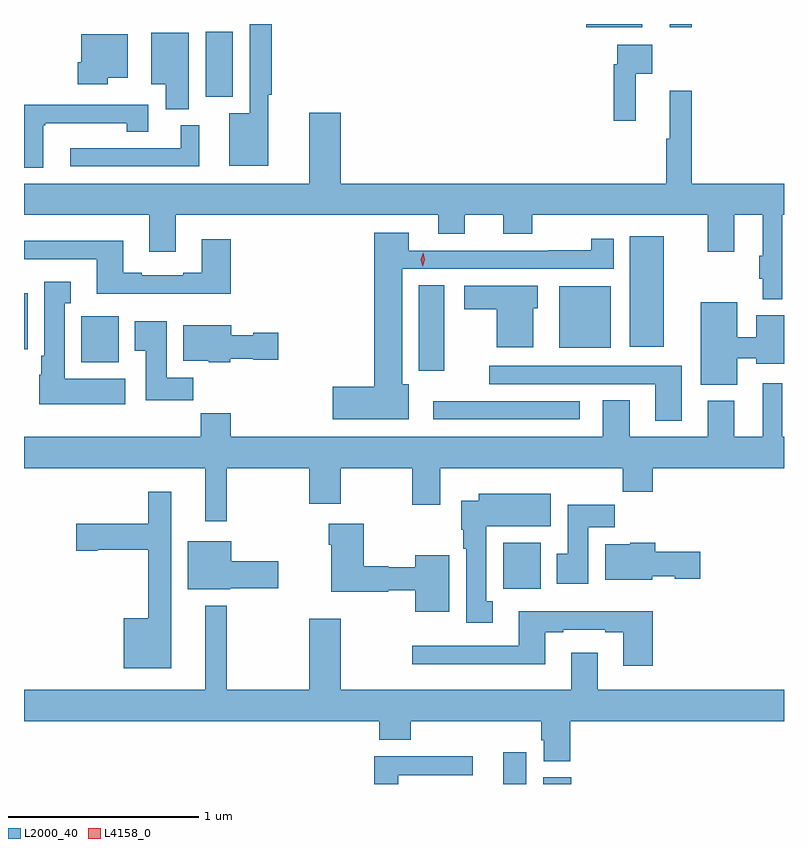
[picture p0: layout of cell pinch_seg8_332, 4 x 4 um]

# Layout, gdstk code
import gdstk
lib = gdstk.Library(unit=1e-6, precision=1e-09)
def R(c, l, rs):  # rectangles x0, y0, x1, y1
    for r in rs: c.add(gdstk.rectangle(r[:2], r[2:], *l))
def P(c, l, *ps):  # polygons
    for p in ps: c.add(gdstk.Polygon(p, *l))
L2000_40 = (2000, 40)
L4158_0 = (4158, 0)

pinch_seg8_332 = lib.new_cell('pinch_seg8_332')
R(pinch_seg8_332, L2000_40, [(453.74,1148.137,453.862,1148.305), (453.95,1148.137,454.097,1148.172), (453.74,1149.164,453.937,1149.406), (453.372,1150.056,454.144,1150.152), (453.296,1150.311,453.43,1150.763), (451.52,1150.358,451.717,1150.6), (451.218,1150.424,451.237,1150.72), (454.034,1150.433,454.306,1150.756), (454.406,1150.439,454.585,1151.02), (452.174,1151.753,452.317,1152.095), (454.178,1152.119,454.471,1152.137), (454.617,1152.12,454.733,1152.137)])
P(pinch_seg8_332, L2000_40, [(452.504,1151.764),(452.522,1151.764),(452.522,1152.137),(452.406,1152.137),(452.406,1151.668),(452.297,1151.668),(452.297,1151.39),(452.504,1151.39)],
  [(452.086,1152.091),(451.889,1152.091),(451.889,1151.819),(451.964,1151.819),(451.964,1151.689),(452.086,1151.689)],
  [(451.66,1151.855),(451.765,1151.855),(451.765,1152.082),(451.52,1152.082),(451.52,1151.937),(451.502,1151.937),(451.502,1151.819),(451.66,1151.819)],
  [(454.439,1151.876),(454.525,1151.876),(454.525,1152.028),(454.341,1152.028),(454.341,1151.924),(454.321,1151.924),(454.321,1151.628),(454.439,1151.628)],
  [(455.209,1151.132),(455.218,1151.132),(455.218,1151.296),(454.733,1151.296),(454.733,1151.785),(454.616,1151.785),(454.616,1151.532),(454.597,1151.532),(454.597,1151.296),(452.884,1151.296),(452.884,1151.671),(452.72,1151.671),(452.72,1151.296),(451.218,1151.296),(451.218,1151.132),(451.877,1151.132),(451.877,1150.938),(452.017,1150.938),(452.017,1151.132),(453.398,1151.132),(453.398,1151.033),(453.538,1151.033),(453.538,1151.132),(453.74,1151.132),(453.74,1151.033),(453.893,1151.033),(453.893,1151.132),(454.817,1151.132),(454.817,1150.938),(454.957,1150.938),(454.957,1151.132),(455.105,1151.132),(455.105,1150.916),(455.088,1150.916),(455.088,1150.795),(455.105,1150.795),(455.105,1150.688),(455.209,1150.688)],
  [(451.318,1151.604),(451.33,1151.604),(451.33,1151.615),(451.76,1151.615),(451.76,1151.569),(451.873,1151.569),(451.873,1151.712),(451.324,1151.712),(451.324,1151.713),(451.218,1151.713),(451.218,1151.604),(451.22,1151.604),(451.22,1151.381),(451.318,1151.381)],
  [(452.14,1151.604),(452.042,1151.604),(452.042,1151.484),(451.461,1151.484),(451.461,1151.388),(452.14,1151.388)],
  [(453.244,1150.24),(453.208,1150.24),(453.208,1150.848),(454.321,1150.848),(454.321,1151.008),(454.204,1151.008),(454.204,1150.946),(453.976,1150.946),(453.976,1150.944),(453.244,1150.944),(453.244,1151.038),(453.062,1151.038),(453.062,1150.229),(452.844,1150.229),(452.844,1150.058),(453.244,1150.058)],
  [(452.306,1151.005),(452.153,1151.005),(452.153,1150.828),(452.057,1150.828),(452.057,1150.815),(451.837,1150.815),(451.837,1150.828),(451.741,1150.828),(451.741,1150.996),(451.218,1150.996),(451.218,1150.899),(451.601,1150.899),(451.601,1150.718),(452.306,1150.718)],
  [(451.75,1150.27),(451.432,1150.27),(451.432,1150.667),(451.465,1150.667),(451.465,1150.78),(451.325,1150.78),(451.325,1150.39),(451.31,1150.39),(451.31,1150.29),(451.298,1150.29),(451.298,1150.136),(451.75,1150.136)],
  [(453.898,1150.641),(453.922,1150.641),(453.922,1150.759),(453.534,1150.759),(453.534,1150.637),(453.707,1150.637),(453.707,1150.436),(453.898,1150.436)],
  [(454.972,1150.378),(455.072,1150.378),(455.072,1150.349),(455.218,1150.349),(455.218,1150.603),(455.072,1150.603),(455.072,1150.489),(454.972,1150.489),(454.972,1150.672),(454.781,1150.672),(454.781,1150.238),(454.972,1150.238)],
  [(452.108,1150.276),(451.969,1150.276),(451.969,1150.573),(451.802,1150.573),(451.802,1150.417),(451.859,1150.417),(451.859,1150.158),(452.108,1150.158)],
  [(452.304,1150.376),(452.424,1150.376),(452.424,1150.369),(452.557,1150.369),(452.557,1150.511),(452.424,1150.511),(452.424,1150.498),(452.308,1150.498),(452.308,1150.552),(452.057,1150.552),(452.057,1150.364),(452.19,1150.364),(452.19,1150.358),(452.304,1150.358)],
  [(454.681,1150.338),(453.666,1150.338),(453.666,1150.242),(454.541,1150.242),(454.541,1150.05),(454.681,1150.05)],
  [(452.285,1149.8),(452.72,1149.8),(452.72,1149.612),(452.884,1149.612),(452.884,1149.8),(453.262,1149.8),(453.262,1149.606),(453.409,1149.606),(453.409,1149.8),(454.369,1149.8),(454.369,1149.676),(454.526,1149.676),(454.526,1149.8),(455.218,1149.8),(455.218,1149.964),(455.209,1149.964),(455.209,1150.246),(455.105,1150.246),(455.105,1149.964),(454.957,1149.964),(454.957,1150.153),(454.817,1150.153),(454.817,1149.964),(454.405,1149.964),(454.405,1150.157),(454.265,1150.157),(454.265,1149.964),(452.306,1149.964),(452.306,1150.088),(452.149,1150.088),(452.149,1149.964),(451.218,1149.964),(451.218,1149.8),(452.171,1149.8),(452.171,1149.519),(452.285,1149.519)],
  [(451.993,1149.676),(451.872,1149.676),(451.872,1149.507),(451.494,1149.507),(451.494,1149.365),(451.606,1149.365),(451.606,1149.37),(451.872,1149.37),(451.872,1149.01),(451.742,1149.01),(451.742,1148.747),(451.993,1148.747)],
  [(453.685,1149.098),(453.652,1149.098),(453.652,1149.494),(453.991,1149.494),(453.991,1149.664),(453.611,1149.664),(453.611,1149.628),(453.518,1149.628),(453.518,1149.474),(453.53,1149.474),(453.53,1149.374),(453.545,1149.374),(453.545,1148.985),(453.685,1148.985)],
  [(454.189,1149.488),(454.328,1149.488),(454.328,1149.606),(454.079,1149.606),(454.079,1149.348),(454.022,1149.348),(454.022,1149.192),(454.189,1149.192)],
  [(453.457,1149.34),(453.278,1149.34),(453.278,1149.277),(453.135,1149.277),(453.135,1149.284),(453.005,1149.284),(453.005,1149.508),(452.822,1149.508),(452.822,1149.395),(452.834,1149.395),(452.834,1149.148),(453.135,1149.148),(453.135,1149.156),(453.278,1149.156),(453.278,1149.044),(453.457,1149.044)],
  [(452.304,1149.167),(452.557,1149.167),(452.557,1149.309),(452.308,1149.309),(452.308,1149.415),(452.081,1149.415),(452.081,1149.161),(452.304,1149.161)],
  [(454.524,1149.23),(454.644,1149.23),(454.644,1149.218),(454.777,1149.218),(454.777,1149.36),(454.541,1149.36),(454.541,1149.406),(454.41,1149.406),(454.41,1149.4),(454.277,1149.4),(454.277,1149.212),(454.524,1149.212)],
  [(454.094,1148.468),(455.218,1148.468),(455.218,1148.632),(454.237,1148.632),(454.237,1148.827),(454.097,1148.827),(454.097,1148.632),(452.884,1148.632),(452.884,1149.007),(452.72,1149.007),(452.72,1148.632),(452.285,1148.632),(452.285,1149.076),(452.171,1149.076),(452.171,1148.632),(451.218,1148.632),(451.218,1148.468),(453.089,1148.468),(453.089,1148.369),(453.254,1148.369),(453.254,1148.468),(453.941,1148.468),(453.941,1148.367),(453.953,1148.367),(453.953,1148.257),(454.094,1148.257)],
  [(454.526,1149.046),(453.821,1149.046),(453.821,1148.865),(453.261,1148.865),(453.261,1148.768),(453.961,1148.768),(453.961,1148.937),(454.057,1148.937),(454.057,1148.949),(454.277,1148.949),(454.277,1148.937),(454.373,1148.937),(454.373,1148.76),(454.526,1148.76)],
  [(453.187,1148.184),(453.58,1148.184),(453.58,1148.282),(453.062,1148.282),(453.062,1148.137),(453.187,1148.137)])
P(pinch_seg8_332, L4158_0, [(453.316,1150.86),(453.316,1150.861),(453.307,1150.897),(453.318,1150.933),(453.318,1150.933),(453.318,1150.933),(453.327,1150.896),(453.316,1150.861)])

lib.write_gds('pinch_seg8_332.gds')
